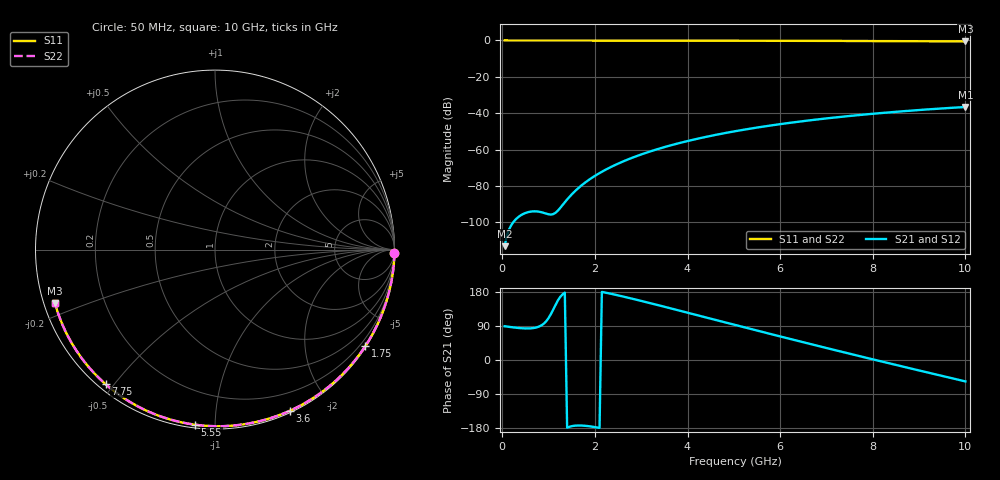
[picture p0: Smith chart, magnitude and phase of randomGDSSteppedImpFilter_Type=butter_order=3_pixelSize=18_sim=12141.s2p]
! freq	dB(S11)	phase(S11)	dB(S12)	phase(S12)
!  dB(S21)	phase(S21)	dB(S22)	phase(S22)
!S-par simulation data
#  GHz  S  DB  R 50
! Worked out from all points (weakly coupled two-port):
!   200 points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, 50 MHz to 10 GHz, reference 50 ohm
!   highest |S21| = -36.55 dB at 10 GHz (marker M1); lowest = -113.0 dB at 50 MHz (marker M2)
!   lowest |S11| = -0.5 dB at 10 GHz (marker M3), VSWR 32.37, Z = 1.59 - j8.1 ohm
!   |S11| at or under -10 dB: nowhere
!   |S22| runs from -0.5 to 0.0 dB; largest |S21 - S12| = 0
!   S11 on the Smith chart (normalised r, x): 50 MHz: open; 1.75 GHz: 0.03, -3.42; 3.6 GHz: 0.02, -1.57; 5.55 GHz: 0.02, -0.89; 7.75 GHz: 0.02, -0.48; 10 GHz: 0.03, -0.16
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0.05  -0.00 -1.0  -113.01 89.1  -113.01 89.1  -0.00 -1.0
0.45  -0.01 -8.5  -95.34 83.5  -95.34 83.5  -0.01 -8.5
0.85  -0.02 -16.0  -94.39 91.8  -94.39 91.8  -0.02 -16.0
1.65  -0.04 -30.8  -80.93 -172.9  -80.93 -172.9  -0.04 -30.8
1.7  -0.04 -31.7  -79.85 -173.0  -79.85 -173.0  -0.04 -31.7
1.75  -0.04 -32.6  -78.83 -173.3  -78.83 -173.3  -0.04 -32.6
1.9  -0.05 -35.3  -76.05 -175.2  -76.05 -175.2  -0.05 -35.3
2.05  -0.05 -38.0  -73.60 -178.1  -73.60 -178.1  -0.05 -38.0
2.25  -0.05 -41.6  -70.75 177.3  -70.75 177.3  -0.05 -41.6
2.45  -0.06 -45.2  -68.25 172.0  -68.25 172.0  -0.06 -45.2
2.9  -0.07 -53.1  -63.53 159.0  -63.53 159.0  -0.07 -53.1
3.4  -0.08 -61.7  -59.33 143.7  -59.33 143.7  -0.08 -61.7
3.6  -0.09 -65.1  -57.87 137.4  -57.87 137.4  -0.09 -65.1
4.3  -0.11 -76.7  -53.50 115.4  -53.50 115.4  -0.11 -76.7
5.05  -0.14 -88.7  -49.75 91.8  -49.75 91.8  -0.14 -88.7
5.55  -0.16 -96.5  -47.65 76.1  -47.65 76.1  -0.16 -96.5
6.1  -0.19 -104.9  -45.62 59.1  -45.62 59.1  -0.19 -104.9
6.7  -0.22 -113.8  -43.69 40.7  -43.69 40.7  -0.22 -113.8
7.75  -0.30 -129.1  -40.86 9.1  -40.86 9.1  -0.30 -129.1
8.35  -0.35 -137.7  -39.51 -8.6  -39.51 -8.6  -0.35 -137.7
9.2  -0.44 -149.9  -37.85 -33.4  -37.85 -33.4  -0.44 -149.9
10  -0.54 -161.6  -36.55 -56.5  -36.55 -56.5  -0.54 -161.6
